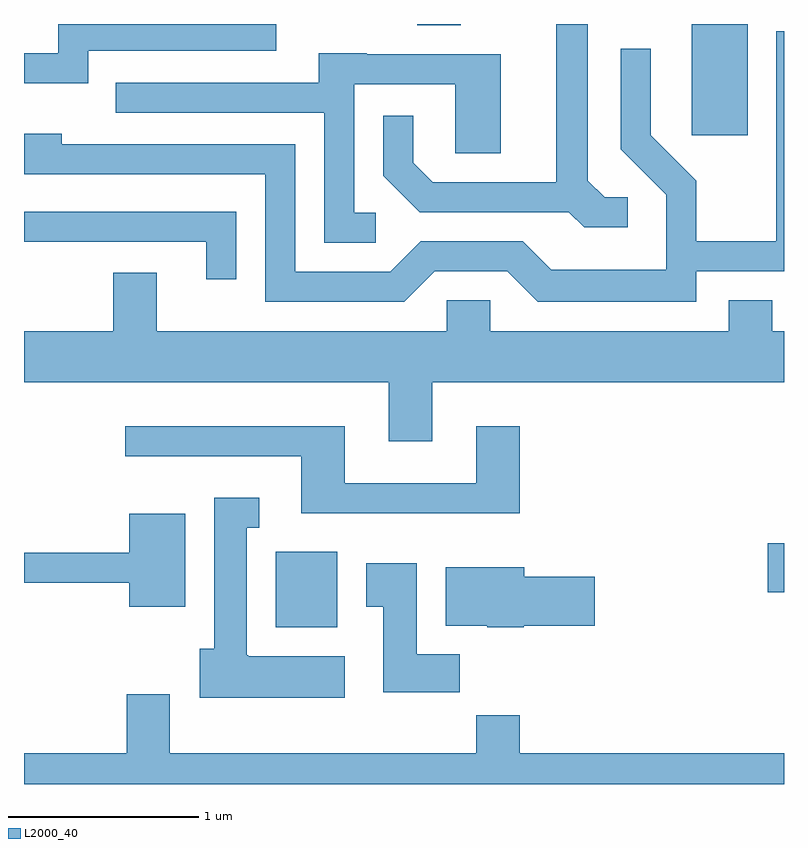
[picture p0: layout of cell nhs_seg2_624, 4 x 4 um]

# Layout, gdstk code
import gdstk
lib = gdstk.Library(unit=1e-6, precision=1e-09)
def R(c, l, rs):  # rectangles x0, y0, x1, y1
    for r in rs: c.add(gdstk.rectangle(r[:2], r[2:], *l))
def P(c, l, *ps):  # polygons
    for p in ps: c.add(gdstk.Polygon(p, *l))
L2000_40 = (2000, 40)

nhs_seg2_624 = lib.new_cell('nhs_seg2_624')
R(nhs_seg2_624, L2000_40, [(204.936,1002.626,205.259,1003.024), (207.526,1002.811,207.611,1003.069), (207.126,1005.216,207.419,1005.802), (205.681,1005.796,205.909,1005.802)])
P(nhs_seg2_624, L2000_40, [(206.788,1004.889),(206.667,1004.889),(206.579,1004.977),(206.579,1005.802),(206.411,1005.802),(206.411,1004.969),(205.762,1004.969),(205.659,1005.072),(205.659,1005.318),(205.501,1005.318),(205.501,1005.004),(205.694,1004.811),(206.479,1004.811),(206.559,1004.731),(206.788,1004.731)],
  [(203.949,1005.661),(204.939,1005.661),(204.939,1005.802),(203.791,1005.802),(203.791,1005.649),(203.611,1005.649),(203.611,1005.491),(203.949,1005.491)],
  [(205.772,1004.501),(206.154,1004.501),(206.314,1004.341),(207.149,1004.341),(207.149,1004.501),(207.611,1004.501),(207.611,1005.764),(207.571,1005.764),(207.571,1004.659),(207.149,1004.659),(207.149,1004.977),(206.909,1005.217),(206.909,1005.673),(206.751,1005.673),(206.751,1005.144),(206.991,1004.904),(206.991,1004.509),(206.387,1004.509),(206.237,1004.659),(205.699,1004.659),(205.539,1004.499),(205.039,1004.499),(205.039,1005.169),(203.809,1005.169),(203.809,1005.224),(203.611,1005.224),(203.611,1005.011),(204.881,1005.011),(204.881,1004.341),(205.612,1004.341)],
  [(205.463,1004.809),(205.349,1004.809),(205.349,1005.486),(205.881,1005.486),(205.881,1005.121),(206.119,1005.121),(206.119,1005.644),(205.415,1005.644),(205.415,1005.649),(205.161,1005.649),(205.161,1005.494),(204.093,1005.494),(204.093,1005.336),(205.191,1005.336),(205.191,1004.651),(205.463,1004.651)],
  [(204.729,1004.814),(203.611,1004.814),(203.611,1004.656),(204.571,1004.656),(204.571,1004.458),(204.729,1004.458)],
  [(205.759,1003.916),(207.611,1003.916),(207.611,1004.184),(207.549,1004.184),(207.549,1004.349),(207.321,1004.349),(207.321,1004.184),(206.064,1004.184),(206.064,1004.349),(205.836,1004.349),(205.836,1004.184),(204.309,1004.184),(204.309,1004.494),(204.081,1004.494),(204.081,1004.184),(203.611,1004.184),(203.611,1003.916),(205.531,1003.916),(205.531,1003.606),(205.759,1003.606)],
  [(206.219,1003.684),(205.991,1003.684),(205.991,1003.384),(205.299,1003.384),(205.299,1003.684),(204.143,1003.684),(204.143,1003.526),(205.071,1003.526),(205.071,1003.226),(206.219,1003.226)],
  [(205.299,1002.474),(204.79,1002.474),(204.79,1002.48),(204.784,1002.48),(204.784,1003.151),(204.848,1003.151),(204.848,1003.309),(204.611,1003.309),(204.611,1002.514),(204.536,1002.514),(204.536,1002.256),(205.299,1002.256)],
  [(204.459,1003.224),(204.166,1003.224),(204.166,1003.019),(203.611,1003.019),(203.611,1002.861),(204.166,1002.861),(204.166,1002.736),(204.459,1002.736)],
  [(205.904,1002.484),(205.679,1002.484),(205.679,1002.964),(205.411,1002.964),(205.411,1002.736),(205.501,1002.736),(205.501,1002.286),(205.904,1002.286)],
  [(206.24,1002.636),(206.614,1002.636),(206.614,1002.894),(206.244,1002.894),(206.244,1002.944),(205.831,1002.944),(205.831,1002.636),(206.05,1002.636),(206.05,1002.626),(206.24,1002.626)],
  [(207.611,1001.964),(206.219,1001.964),(206.219,1002.164),(205.991,1002.164),(205.991,1001.964),(204.379,1001.964),(204.379,1002.274),(204.151,1002.274),(204.151,1001.964),(203.611,1001.964),(203.611,1001.802),(207.611,1001.802)])

lib.write_gds('nhs_seg2_624.gds')
